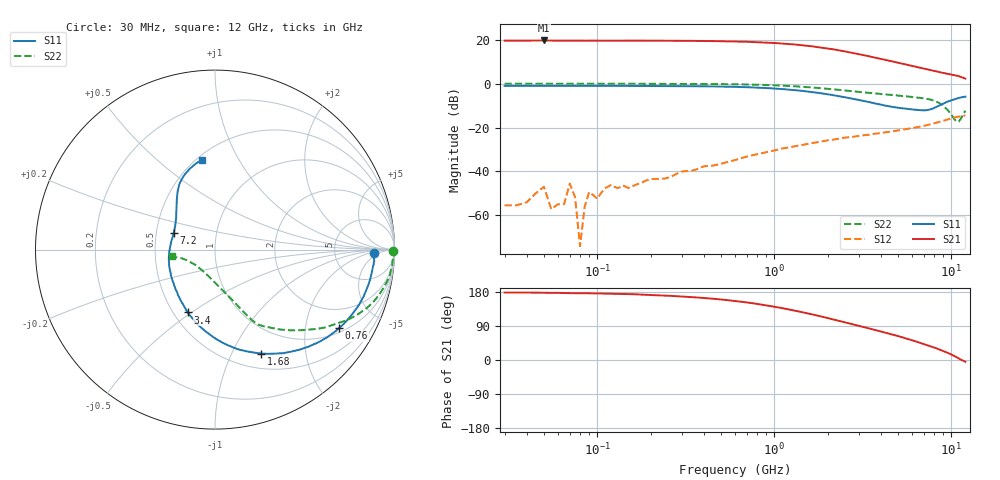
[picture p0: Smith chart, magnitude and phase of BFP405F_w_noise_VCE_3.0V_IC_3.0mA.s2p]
! Infineon Technologies  Discrete & RF Semiconductors
! BFP405F
! VCE =  3.0 V,  IC =  3.0 mA
! Common Emitter S-Parameters:  Nov 2015
# GHz  S  MA  R  50
!  f  S11  S21  S12  S22
! GHz  MAG  ANG  MAG  ANG  MAG  ANG  MAG  ANG
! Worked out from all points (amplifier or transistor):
!   239 points, 30 MHz to 12 GHz, reference 50 ohm
!   highest |S21| = 19.6 dB at 50 MHz (marker M1)
!   |S21| within 3 dB of that: start of sweep to 1.752 GHz
!   unconditionally stable (mu >= 1): 3.545 GHz to end of sweep
!   at 300 MHz: K = 0.01, MSG = 29.7 dB, |S12| = -40.0 dB
!   at 1.88 GHz: K = 0.49, MSG = 21.3 dB, |S12| = -26.2 dB
!   at 12 GHz: K = 1.56, MAG = 4.0 dB, |S12| = -14.5 dB
!   lowest NFmin = 1.11 dB at 450 MHz
!   S11 on the Smith chart (normalised r, x): 30 MHz: 16, -3; 760 MHz: 1.16, -3.05; 1.68 GHz: 0.68, -1.31; 3.4 GHz: 0.59, -0.48; 7.2 GHz: 0.62, +0.12; 12 GHz: 0.53, +0.71
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0.03  0.8874 -1.2  9.477 178.1  0.0017 78.3  0.9922 -0.6
0.05  0.8871 -2.2  9.584 177.3  0.0045 96.8  0.9992 -0.6
0.055  0.8872 -2.4  9.531 177.2  0.0014 87.0  0.9973 -0.8
0.065  0.8865 -2.8  9.497 176.7  0.0018 82.7  0.9953 -1.2
0.07  0.8857 -3.2  9.516 176.3  0.0053 92.3  0.9952 -1.3
0.075  0.8866 -3.3  9.483 176.2  0.0026 93.1  0.9952 -1.2
0.08  0.8875 -3.4  9.45 176.0  0.0002 -108.7  0.9953 -1.2
0.085  0.8884 -3.7  9.47 176.1  0.0016 101.7  0.9965 -1.6
0.09  0.8893 -3.9  9.49 176.1  0.0034 100.0  0.9977 -1.9
0.24  0.8807 -10.5  9.43 170.1  0.0069 87.6  0.9906 -5.1
0.4  0.8684 -17.4  9.332 163.7  0.0131 77.7  0.9842 -8.4
0.6  0.8432 -25.8  9.064 155.7  0.0182 78.6  0.9652 -12.4
0.76  0.8178 -32.3  8.829 149.6  0.0236 75.8  0.9475 -15.4
1.2  0.7319 -49.5  7.998 133.7  0.035 67.9  0.886 -23.1
1.64  0.6413 -64.7  7.031 120.3  0.0444 62.2  0.8157 -29.5
1.68  0.6339 -66.0  6.938 119.2  0.0451 62.3  0.8092 -30.0
2.2  0.5368 -82.5  5.937 105.8  0.0542 56.6  0.7345 -36.6
3.4  0.3814 -113.3  4.206 83.7  0.0683 49.7  0.6176 -46.8
4.5  0.303 -138.8  3.28 69.1  0.0806 46.4  0.5587 -52.3
7.2  0.2478 158.4  2.124 40.0  0.1121 41.7  0.4529 -61.8
10.8  0.4605 109.7  1.503 6.3  0.1749 28.2  0.1351 -126.3
12  0.5041 98.5  1.301 -4.5  0.1884 22.5  0.2426 -171.0
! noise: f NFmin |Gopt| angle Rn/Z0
0.45  1.11  0.5  6  0.37
0.9  1.12  0.47  14  0.41
1.5  1.21  0.44  20  0.35
1.9  1.25  0.42  27  0.35
2.4  1.43  0.39  37  0.36
3  1.5  0.37  47  0.33
3.5  1.54  0.36  57  0.31
4.5  1.72  0.3  73  0.26
5.5  1.97  0.19  88  0.16
